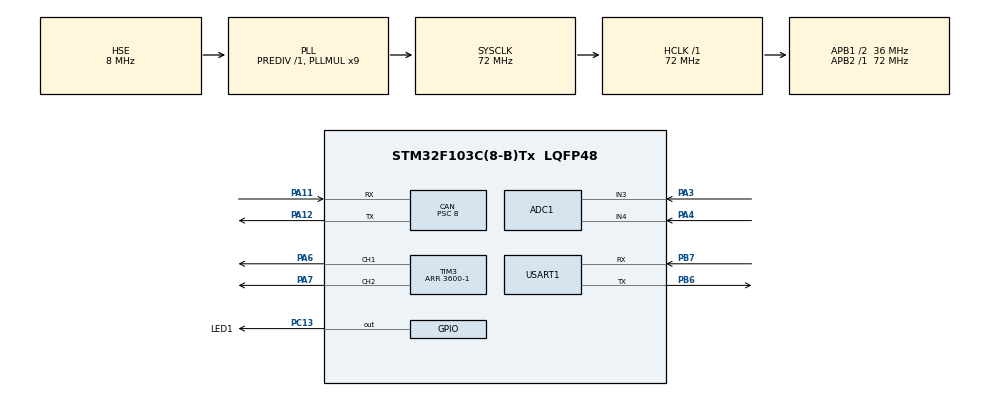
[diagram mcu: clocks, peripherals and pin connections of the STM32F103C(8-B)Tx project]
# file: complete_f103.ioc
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ADC1.Channel-1\#ChannelRegularConversion=ADC_CHANNEL_4
ADC1.Channel-2\#ChannelRegularConversion=ADC_CHANNEL_3
ADC1.ContinuousConvMode=ENABLE
ADC1.EnableRegularConversion=ENABLE
ADC1.NbrOfConversion=2
ADC1.NbrOfConversionFlag=1
ADC1.Rank-1\#ChannelRegularConversion=1
ADC1.Rank-2\#ChannelRegularConversion=2
ADC1.SamplingTime-1\#ChannelRegularConversion=ADC_SAMPLETIME_239CYCLES_5
ADC1.SamplingTime-2\#ChannelRegularConversion=ADC_SAMPLETIME_239CYCLES_5
ADC1.master=1
CAN.BS1=CAN_BS1_5TQ
CAN.BS2=CAN_BS2_3TQ
CAN.CalculateBaudRate=500000
CAN.CalculateTimeBit=2000
CAN.CalculateTimeQuantum=222.22222222222223
CAN.Prescaler=8
Dma.ADC1.0.Direction=DMA_PERIPH_TO_MEMORY
Dma.ADC1.0.Instance=DMA1_Channel1
Dma.ADC1.0.MemDataAlignment=DMA_MDATAALIGN_HALFWORD
Dma.ADC1.0.MemInc=DMA_MINC_ENABLE
Dma.ADC1.0.Mode=DMA_NORMAL
Dma.ADC1.0.PeriphDataAlignment=DMA_PDATAALIGN_HALFWORD
Dma.ADC1.0.PeriphInc=DMA_PINC_DISABLE
Dma.ADC1.0.Priority=DMA_PRIORITY_LOW
Dma.Request0=ADC1
Mcu.Family=STM32F1
Mcu.Name=STM32F103C(8-B)Tx
Mcu.Package=LQFP48
NVIC.CAN1_RX1_IRQn=true\:5\:0\:true\:false\:true\:true\:true\:true
NVIC.DMA1_Channel1_IRQn=true\:5\:0\:true\:false\:true\:false\:true\:true
NVIC.PriorityGroup=NVIC_PRIORITYGROUP_4
NVIC.TIM4_IRQn=true\:15\:0\:false\:false\:true\:false\:true\:true
NVIC.TimeBase=TIM4_IRQn
NVIC.TimeBaseIP=TIM4
NVIC.USB_LP_CAN1_RX0_IRQn=true\:5\:0\:true\:false\:true\:true\:true\:true
PA11.Mode=CAN_Activate
PA11.Signal=CAN_RX
PA12.Mode=CAN_Activate
PA12.Signal=CAN_TX
PA13.Mode=Serial_Wire
PA13.Signal=SYS_JTMS-SWDIO
PA14.Mode=Serial_Wire
PA14.Signal=SYS_JTCK-SWCLK
PA3.Signal=ADCx_IN3
PA4.Signal=ADCx_IN4
PA6.Signal=S_TIM3_CH1
PA7.Signal=S_TIM3_CH2
PB6.Mode=Asynchronous
PB6.Signal=USART1_TX
PB7.Mode=Asynchronous
PB7.Signal=USART1_RX
PC13-TAMPER-RTC.GPIO_Label=LED1
PC13-TAMPER-RTC.Signal=GPIO_Output
PD0-OSC_IN.Mode=HSE-External-Oscillator
PD0-OSC_IN.Signal=RCC_OSC_IN
PD1-OSC_OUT.Mode=HSE-External-Oscillator
PD1-OSC_OUT.Signal=RCC_OSC_OUT
ProjectManager.HeapSize=0x200
ProjectManager.StackSize=0x400
ProjectManager.TargetToolchain=CMake
RCC.ADCPresc=RCC_ADCPCLK2_DIV6
RCC.AHBFreq_Value=72000000
RCC.APB1CLKDivider=RCC_HCLK_DIV2
RCC.APB1Freq_Value=36000000
RCC.APB1TimFreq_Value=72000000
RCC.APB2Freq_Value=72000000
RCC.APB2TimFreq_Value=72000000
RCC.HCLKFreq_Value=72000000
RCC.PLLMUL=RCC_PLL_MUL9
RCC.PLLSourceVirtual=RCC_PLLSOURCE_HSE
RCC.SYSCLKFreq_VALUE=72000000
RCC.SYSCLKSource=RCC_SYSCLKSOURCE_PLLCLK
RCC.USBFreq_Value=72000000
SH.ADCx_IN3.0=ADC1_IN3,IN3
SH.ADCx_IN4.0=ADC1_IN4,IN4
SH.S_TIM3_CH1.0=TIM3_CH1,PWM Generation1 CH1
SH.S_TIM3_CH2.0=TIM3_CH2,PWM Generation2 CH2
TIM3.Channel-PWM\ Generation1\ CH1=TIM_CHANNEL_1
TIM3.Channel-PWM\ Generation2\ CH2=TIM_CHANNEL_2
TIM3.Period=3600-1
USART1.VirtualMode=VM_ASYNC
VP_SYS_VS_tim4.Mode=TIM4
board=custom

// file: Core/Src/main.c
/* USER CODE BEGIN Header */
/**
  ******************************************************************************
  * @file           : main.c
  * @brief          : Main program body
  ******************************************************************************
  * @attention
  *
  * Copyright (c) 2026 STMicroelectronics.
  * All rights reserved.
  *
  * This software is licensed under terms that can be found in the LICENSE file
  * in the root directory of this software component.
  * If no LICENSE file comes with this software, it is provided AS-IS.
  *
  ******************************************************************************
  */
/* USER CODE END Header */
#include "main.h"
#include "adc.h"
#include "can.h"
#include "dma.h"
#include "tim.h"
#include "usart.h"
#include "gpio.h"

/* USER CODE BEGIN Includes */
#include "drv_motor.h"
#include "drv_ntc.h"
#include "drv_can.h"
#include "FreeRTOS.h"
#include "task.h"
#include "semphr.h"
#include <stdarg.h>
#include <stdio.h>
#include "drv_print.h"
#include "drv_can.h"
/* USER CODE END Includes */

/* USER CODE BEGIN PD */
#define LED_TOGGLE_PERIOD_MS       500U

/* USER CODE END PD */

void SystemClock_Config(void);

/* USER CODE BEGIN 0 */

static void vLED1Task(void *pvParameters)
{
  (void)pvParameters;
  for (;;)
  {
    HAL_GPIO_WritePin(LED1_GPIO_Port, LED1_Pin, GPIO_PIN_SET);
    vTaskDelay(pdMS_TO_TICKS(LED_TOGGLE_PERIOD_MS));
    HAL_GPIO_WritePin(LED1_GPIO_Port, LED1_Pin, GPIO_PIN_RESET);
    vTaskDelay(pdMS_TO_TICKS(LED_TOGGLE_PERIOD_MS));
  }
}

/* USER CODE END 0 */

int main(void)
{

  /* MCU Configuration--------------------------------------------------------*/

  /* Reset of all peripherals, Initializes the Flash interface and the Systick. */
  HAL_Init();

  /* Configure the system clock */
  SystemClock_Config();

  /* Initialize all configured peripherals */
  MX_GPIO_Init();
  MX_DMA_Init();
  MX_CAN_Init();
  MX_USART1_UART_Init();
  MX_TIM3_Init();
  MX_ADC1_Init();
  /* USER CODE BEGIN 2 */
  printf_init();
  if (Motor_Init() != HAL_OK)
  {
    Error_Handler();
  }
  if (Ntc_Init() != HAL_OK)       //调用了NTC采样保护和打印任务
  {
    Motor_Stop();
    Error_Handler();
  }
  if (xTaskCreate(vLED1Task, "LED1", 128, NULL, 1, NULL) != pdPASS)
  {
    Error_Handler();
  }
  if (Can_Init() != HAL_OK ||
      xTaskCreate(Can_ReceiveTask, "CanRx", 384, NULL, 2, NULL) != pdPASS)
  {
    Error_Handler();
  }

  vTaskStartScheduler();
  /* USER CODE END 2 */

  /* Infinite loop */
  while (1)
  {

  }
}

void SystemClock_Config(void)
{
  RCC_OscInitTypeDef RCC_OscInitStruct = {0};
  RCC_ClkInitTypeDef RCC_ClkInitStruct = {0};
  RCC_PeriphCLKInitTypeDef PeriphClkInit = {0};

  /** Initializes the RCC Oscillators according to the specified parameters
  * in the RCC_OscInitTypeDef structure.
  */
  RCC_OscInitStruct.OscillatorType = RCC_OSCILLATORTYPE_HSE;
  RCC_OscInitStruct.HSEState = RCC_HSE_ON;
  RCC_OscInitStruct.HSEPredivValue = RCC_HSE_PREDIV_DIV1;
  RCC_OscInitStruct.HSIState = RCC_HSI_ON;
  RCC_OscInitStruct.PLL.PLLState = RCC_PLL_ON;
  RCC_OscInitStruct.PLL.PLLSource = RCC_PLLSOURCE_HSE;
  RCC_OscInitStruct.PLL.PLLMUL = RCC_PLL_MUL9;
  if (HAL_RCC_OscConfig(&RCC_OscInitStruct) != HAL_OK)
  {
    Error_Handler();
  }

  /** Initializes the CPU, AHB and APB buses clocks
  */
  RCC_ClkInitStruct.ClockType = RCC_CLOCKTYPE_HCLK|RCC_CLOCKTYPE_SYSCLK
                              |RCC_CLOCKTYPE_PCLK1|RCC_CLOCKTYPE_PCLK2;
  RCC_ClkInitStruct.SYSCLKSource = RCC_SYSCLKSOURCE_PLLCLK;
  RCC_ClkInitStruct.AHBCLKDivider = RCC_SYSCLK_DIV1;
  RCC_ClkInitStruct.APB1CLKDivider = RCC_HCLK_DIV2;
  RCC_ClkInitStruct.APB2CLKDivider = RCC_HCLK_DIV1;

  if (HAL_RCC_ClockConfig(&RCC_ClkInitStruct, FLASH_LATENCY_2) != HAL_OK)
  {
    Error_Handler();
  }
  PeriphClkInit.PeriphClockSelection = RCC_PERIPHCLK_ADC;
  PeriphClkInit.AdcClockSelection = RCC_ADCPCLK2_DIV6;
  if (HAL_RCCEx_PeriphCLKConfig(&PeriphClkInit) != HAL_OK)
  {
    Error_Handler();
  }
}

void HAL_TIM_PeriodElapsedCallback(TIM_HandleTypeDef *htim)
{
  if (htim->Instance == TIM4)
  {
    HAL_IncTick();
  }
}

void Error_Handler(void)
{
  __disable_irq();
  while (1)
  {
  }
}
